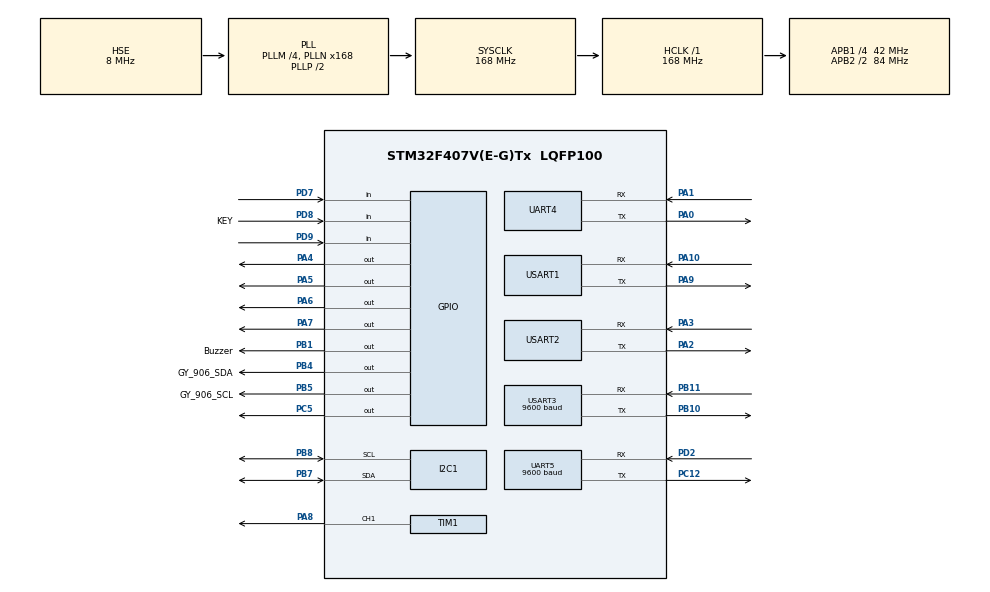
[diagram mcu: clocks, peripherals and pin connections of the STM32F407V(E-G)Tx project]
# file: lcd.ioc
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Dma.Request0=UART5_TX
Dma.Request1=UART4_TX
Dma.Request2=TIM1_CH1
Dma.Request3=UART4_RX
Dma.TIM1_CH1.2.Direction=DMA_MEMORY_TO_PERIPH
Dma.TIM1_CH1.2.FIFOMode=DMA_FIFOMODE_DISABLE
Dma.TIM1_CH1.2.Instance=DMA2_Stream1
Dma.TIM1_CH1.2.MemDataAlignment=DMA_MDATAALIGN_WORD
Dma.TIM1_CH1.2.MemInc=DMA_MINC_ENABLE
Dma.TIM1_CH1.2.Mode=DMA_NORMAL
Dma.TIM1_CH1.2.PeriphDataAlignment=DMA_PDATAALIGN_WORD
Dma.TIM1_CH1.2.PeriphInc=DMA_PINC_DISABLE
Dma.TIM1_CH1.2.Priority=DMA_PRIORITY_VERY_HIGH
Dma.UART4_RX.3.Direction=DMA_PERIPH_TO_MEMORY
Dma.UART4_RX.3.FIFOMode=DMA_FIFOMODE_DISABLE
Dma.UART4_RX.3.Instance=DMA1_Stream2
Dma.UART4_RX.3.MemDataAlignment=DMA_MDATAALIGN_BYTE
Dma.UART4_RX.3.MemInc=DMA_MINC_ENABLE
Dma.UART4_RX.3.Mode=DMA_CIRCULAR
Dma.UART4_RX.3.PeriphDataAlignment=DMA_PDATAALIGN_BYTE
Dma.UART4_RX.3.PeriphInc=DMA_PINC_DISABLE
Dma.UART4_RX.3.Priority=DMA_PRIORITY_HIGH
Dma.UART4_TX.1.Direction=DMA_MEMORY_TO_PERIPH
Dma.UART4_TX.1.FIFOMode=DMA_FIFOMODE_DISABLE
Dma.UART4_TX.1.Instance=DMA1_Stream4
Dma.UART4_TX.1.MemDataAlignment=DMA_MDATAALIGN_BYTE
Dma.UART4_TX.1.MemInc=DMA_MINC_ENABLE
Dma.UART4_TX.1.Mode=DMA_NORMAL
Dma.UART4_TX.1.PeriphDataAlignment=DMA_PDATAALIGN_BYTE
Dma.UART4_TX.1.PeriphInc=DMA_PINC_DISABLE
Dma.UART4_TX.1.Priority=DMA_PRIORITY_HIGH
Dma.UART5_TX.0.Direction=DMA_MEMORY_TO_PERIPH
Dma.UART5_TX.0.FIFOMode=DMA_FIFOMODE_DISABLE
Dma.UART5_TX.0.Instance=DMA1_Stream7
Dma.UART5_TX.0.MemDataAlignment=DMA_MDATAALIGN_BYTE
Dma.UART5_TX.0.MemInc=DMA_MINC_ENABLE
Dma.UART5_TX.0.Mode=DMA_NORMAL
Dma.UART5_TX.0.PeriphDataAlignment=DMA_PDATAALIGN_BYTE
Dma.UART5_TX.0.PeriphInc=DMA_PINC_DISABLE
Dma.UART5_TX.0.Priority=DMA_PRIORITY_LOW
I2C1.I2C_Mode=I2C_Fast
Mcu.Family=STM32F4
Mcu.Name=STM32F407V(E-G)Tx
Mcu.Package=LQFP100
NVIC.DMA1_Stream2_IRQn=true\:0\:0\:false\:false\:true\:false\:true\:true
NVIC.DMA1_Stream4_IRQn=true\:0\:0\:false\:false\:true\:false\:true\:true
NVIC.DMA1_Stream7_IRQn=true\:0\:0\:false\:false\:true\:false\:true\:true
NVIC.DMA2_Stream1_IRQn=true\:0\:0\:false\:false\:true\:false\:true\:true
NVIC.PriorityGroup=NVIC_PRIORITYGROUP_4
NVIC.UART4_IRQn=true\:0\:0\:false\:false\:true\:true\:true\:true
NVIC.UART5_IRQn=true\:0\:0\:false\:false\:true\:true\:true\:true
NVIC.USART2_IRQn=true\:0\:0\:false\:false\:true\:true\:true\:true
NVIC.USART3_IRQn=true\:0\:0\:false\:false\:true\:true\:true\:true
PA0-WKUP.Mode=Asynchronous
PA0-WKUP.Signal=UART4_TX
PA1.Mode=Asynchronous
PA1.Signal=UART4_RX
PA10.Mode=Asynchronous
PA10.Signal=USART1_RX
PA13.Mode=Serial_Wire
PA13.Signal=SYS_JTMS-SWDIO
PA14.Mode=Serial_Wire
PA14.Signal=SYS_JTCK-SWCLK
PA2.Mode=Asynchronous
PA2.Signal=USART2_TX
PA3.Mode=Asynchronous
PA3.Signal=USART2_RX
PA4.Signal=GPIO_Output
PA5.Signal=GPIO_Output
PA6.Signal=GPIO_Output
PA7.Signal=GPIO_Output
PA8.Signal=S_TIM1_CH1
PA9.Mode=Asynchronous
PA9.Signal=USART1_TX
PB1.GPIO_Label=Buzzer
PB1.GPIO_ModeDefaultOutputPP=GPIO_MODE_OUTPUT_PP
PB1.GPIO_PuPd=GPIO_NOPULL
PB1.PinState=GPIO_PIN_SET
PB1.Signal=GPIO_Output
PB10.Mode=Asynchronous
PB10.Signal=USART3_TX
PB11.Mode=Asynchronous
PB11.Signal=USART3_RX
PB4.GPIO_Label=GY_906_SDA
PB4.GPIO_ModeDefaultOutputPP=GPIO_MODE_OUTPUT_OD
PB4.GPIO_PuPd=GPIO_PULLUP
PB4.GPIO_Speed=GPIO_SPEED_FREQ_HIGH
PB4.PinState=GPIO_PIN_SET
PB4.Signal=GPIO_Output
PB5.GPIO_Label=GY_906_SCL
PB5.GPIO_ModeDefaultOutputPP=GPIO_MODE_OUTPUT_OD
PB5.GPIO_PuPd=GPIO_PULLUP
PB5.GPIO_Speed=GPIO_SPEED_FREQ_HIGH
PB5.PinState=GPIO_PIN_SET
PB5.Signal=GPIO_Output
PB7.Mode=I2C
PB7.Signal=I2C1_SDA
PB8.Mode=I2C
PB8.Signal=I2C1_SCL
PC12.Mode=Asynchronous
PC12.Signal=UART5_TX
PC5.Signal=GPIO_Output
PD2.Mode=Asynchronous
PD2.Signal=UART5_RX
PD7.GPIO_PuPd=GPIO_PULLUP
PD7.Signal=GPIO_Input
PD8.GPIO_Label=KEY
PD8.GPIO_PuPd=GPIO_PULLUP
PD8.Signal=GPIO_Input
PD9.GPIO_PuPd=GPIO_PULLUP
PD9.Signal=GPIO_Input
PH0-OSC_IN.Mode=HSE-External-Oscillator
PH0-OSC_IN.Signal=RCC_OSC_IN
PH1-OSC_OUT.Mode=HSE-External-Oscillator
PH1-OSC_OUT.Signal=RCC_OSC_OUT
ProjectManager.HeapSize=0x200
ProjectManager.StackSize=0x400
ProjectManager.TargetToolchain=MDK-ARM V5.32
RCC.48MHZClocksFreq_Value=84000000
RCC.AHBFreq_Value=168000000
RCC.APB1CLKDivider=RCC_HCLK_DIV4
RCC.APB1Freq_Value=42000000
RCC.APB1TimFreq_Value=84000000
RCC.APB2CLKDivider=RCC_HCLK_DIV2
RCC.APB2Freq_Value=84000000
RCC.APB2TimFreq_Value=168000000
RCC.CortexFreq_Value=168000000
RCC.HCLKFreq_Value=168000000
RCC.HSE_VALUE=8000000
RCC.HSI_VALUE=16000000
RCC.LSE_VALUE=32768
RCC.PLLM=4
RCC.PLLN=168
RCC.PLLSourceVirtual=RCC_PLLSOURCE_HSE
RCC.SYSCLKFreq_VALUE=168000000
RCC.SYSCLKSource=RCC_SYSCLKSOURCE_PLLCLK
RCC.VCOOutputFreq_Value=336000000
SH.S_TIM1_CH1.0=TIM1_CH1,PWM Generation1 CH1
TIM1.Channel-PWM\ Generation1\ CH1=TIM_CHANNEL_1
TIM1.Period=209
UART4.VirtualMode=Asynchronous
UART5.BaudRate=9600
UART5.VirtualMode=Asynchronous
USART1.VirtualMode=VM_ASYNC
USART2.VirtualMode=VM_ASYNC
USART3.BaudRate=9600
USART3.VirtualMode=VM_ASYNC
VP_TIM1_VS_ClockSourceINT.Mode=Internal
board=custom

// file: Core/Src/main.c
/* USER CODE BEGIN Header */
/**
  ******************************************************************************
  * @file           : main.c
  * @brief          : Main program body
  ******************************************************************************
  * @attention
  *
  * Copyright (c) 2026 STMicroelectronics.
  * All rights reserved.
  *
  * This software is licensed under terms that can be found in the LICENSE file
  * in the root directory of this software component.
  * If no LICENSE file comes with this software, it is provided AS-IS.
  *
  ******************************************************************************
  */
/* USER CODE END Header */
#include "main.h"
#include "dma.h"
#include "i2c.h"
#include "tim.h"
#include "usart.h"
#include "gpio.h"

/* USER CODE BEGIN Includes */
#include "Com_debug.h"
#include "Delay.h"
#include "jy901s.h"
#include "GPS.h"
#include "LORA.h"
#include "Buzzer.h"
#include "Int_led.h"
#include "GY906.h"
#include "lcd.h"
#include "lcd_init.h"
#include "fall.h"
#include "mylcd.h"
#include "Ask.h"
#include "max30102.h"
#include "spo2_algorithm.h"
#include "Key.h"
#include "uart_receiver.h"
/* USER CODE END Includes */

/* USER CODE BEGIN PTD */

/* 全局变量定义 --------------------------------------------------------------*/

extern I2C_HandleTypeDef hi2c1;
uint32_t raw_red = 0;
uint32_t raw_ir  = 0;

float my_heart_rate = 0.0f;
float my_spo2       = 0.0f;

uint32_t last_calc_time = 0;

uint16_t sy_Fall=0;

uint8_t g_usart2_receivedata=0;
uint8_t rx_tmp;
char rxdatabufer;
uint16_t point1 = 0;

#define GPS_REC_LEN 128
char gps_rx_byte;
char gps_line_buffer[GPS_REC_LEN];
uint8_t gps_buf_idx = 0;
uint8_t gps_line_ready = 0;
GT_U8_GPS_t my_gps_data;
extern  GT_U8_GPS_t my_gps_data;

SensorData_t current_sensor_data;

Button_t myBtn;
Button_t myBtn2;        // <-- 新增：PD7 按键结构体
uint8_t Test_Key;
void HAL_UART_RxCpltCallback(UART_HandleTypeDef *huart)
{
	    if(huart==&huart2 )
       {
       jy61p_ReceiveData (g_usart2_receivedata);
	     HAL_UART_Receive_IT(&huart2, &g_usart2_receivedata, 1);
       }

			  if(huart->Instance == USART3)
    {
          if (gps_rx_byte == '\n') {
            gps_line_buffer[gps_buf_idx] = '\0';
            gps_line_ready = 1;
            gps_buf_idx = 0;
        } else if (gps_rx_byte != '\r') {
            if (gps_buf_idx < GPS_REC_LEN - 1) {
                gps_line_buffer[gps_buf_idx++] = gps_rx_byte;
            } else {
                gps_buf_idx = 0;
            }
        }

        HAL_UART_Receive_IT(&huart3, (uint8_t *)&gps_rx_byte, 1);
    }
}

void My_Action(void)
{
  sy_Fall=1;
}
extern uint8_t fall_screen_init_flag;
extern uint8_t lock_med_a, lock_med_b, lock_med_c, lock_med_d, lock_med_e;
void My_Action2(void)
{
    printf("Button 2 Pressed! System Resetting...\r\n");

    // 1. 复位核心状态标志
    sy_Fall = 0;
    g_slave_data.sos_flag = 0;
    g_slave_data.medicine_id = 0;
    g_slave_data.new_phone_flag = 0;

//    // 2. 【核心修复】复位 LCD 屏幕首次加载锁
    fall_screen_init_flag = 0;
    lock_med_a = 0;
    lock_med_b = 0;
    lock_med_c = 0;
    lock_med_d = 0;
    lock_med_e = 0;

    // 3. 关闭紧急硬件报警
    WS2812_Send(0, 0, 0);  // 关闭彩色LED
    Buzzer_Stop();         // 关闭蜂鸣器

    // 4. 恢复屏幕为正常显示状态
    normal();

    // 清除屏幕上残留的电话号码
    LCD_Fill(69, 100, 61 + 64, 100 + 16, WHITE);
}
/* USER CODE END PTD */

/* USER CODE BEGIN PD */
#define POWER_SAVE_STILL_TIME_MS       (60UL * 1000UL)
#define POWER_SAVE_PPG_INVALID_MS      (30UL * 1000UL)
#define POWER_SAVE_STILL_DELTA_G       0.15f
#define POWER_SAVE_WAKE_DELTA_G        0.25f
#define POWER_SAVE_LOOP_DELAY_MS       200U

/* USER CODE END PD */

/* USER CODE BEGIN PV */
static uint8_t power_save_mode = 0;
static uint8_t power_save_acc_ready = 0;
static uint32_t power_save_still_start_tick = 0;
static uint32_t last_ppg_valid_tick = 0;
static float power_save_ref_acc_x = 0.0f;
static float power_save_ref_acc_y = 0.0f;
static float power_save_ref_acc_z = 0.0f;
static float power_save_sleep_acc_x = 0.0f;
static float power_save_sleep_acc_y = 0.0f;
static float power_save_sleep_acc_z = 0.0f;
static GPIO_PinState power_save_key8_idle = GPIO_PIN_SET;
static GPIO_PinState power_save_key9_idle = GPIO_PIN_SET;

/* USER CODE END PV */

void SystemClock_Config(void);
/* USER CODE BEGIN PFP */
static void Power_Save_Update(uint32_t now_tick);
static void Power_Save_Enter(void);
static void Power_Save_Exit(void);
static void Power_Save_IdleWait(uint32_t wait_ms);
static uint8_t Power_Save_IsBlocked(void);
static uint8_t Power_Save_KeyActive(void);
static uint8_t Power_Save_AlarmKeyActive(void);
static float Power_Save_Abs(float value);
static float Power_Save_AccelDelta(float ref_x, float ref_y, float ref_z);

/* USER CODE END PFP */

/* USER CODE BEGIN 0 */
static float Power_Save_Abs(float value)
{
    return (value < 0.0f) ? -value : value;
}

static float Power_Save_AccelDelta(float ref_x, float ref_y, float ref_z)
{
    return Power_Save_Abs(AccX - ref_x) + Power_Save_Abs(AccY - ref_y) + Power_Save_Abs(AccZ - ref_z);
}

static uint8_t Power_Save_IsBlocked(void)
{
    return (sy_Fall != 0 ||
            g_slave_data.sos_flag != 0 ||
            g_slave_data.medicine_id != 0 ||
            g_slave_data.new_phone_flag != 0);
}

static uint8_t Power_Save_KeyActive(void)
{
    return (HAL_GPIO_ReadPin(GPIOD, GPIO_PIN_8) != power_save_key8_idle ||
            HAL_GPIO_ReadPin(GPIOD, GPIO_PIN_9) != power_save_key9_idle);
}

static uint8_t Power_Save_AlarmKeyActive(void)
{
    return (HAL_GPIO_ReadPin(GPIOD, GPIO_PIN_8) != power_save_key8_idle);
}

static void Power_Save_Enter(void)
{
    if (power_save_mode != 0) {
        return;
    }

    power_save_mode = 1;
    power_save_sleep_acc_x = AccX;
    power_save_sleep_acc_y = AccY;
    power_save_sleep_acc_z = AccZ;

    Buzzer_Stop();
    WS2812_Send(0, 0, 0);
    MAX30102_Shutdown(&hi2c1);
    HAL_UART_AbortReceive(&huart3);
    HAL_UART_DeInit(&huart3);
    gps_buf_idx = 0;
    gps_line_ready = 0;
    LCD_Sleep();
}

static void Power_Save_Exit(void)
{
    if (power_save_mode == 0) {
        return;
    }

    power_save_mode = 0;
    MX_USART3_UART_Init();
    HAL_UART_Receive_IT(&huart3, (uint8_t *)&gps_rx_byte, 1);
    MAX30102_Init(&hi2c1);
    LCD_Wake();
    normal();
    last_calc_time = HAL_GetTick();
}

static void Power_Save_Update(uint32_t now_tick)
{
    uint8_t blocked = Power_Save_IsBlocked();

    if (power_save_acc_ready == 0) {
        power_save_acc_ready = 1;
        power_save_ref_acc_x = AccX;
        power_save_ref_acc_y = AccY;
        power_save_ref_acc_z = AccZ;
        power_save_still_start_tick = now_tick;
        return;
    }

    if (power_save_mode != 0) {
        if (blocked != 0 || Power_Save_KeyActive() != 0 || Power_Save_AccelDelta(power_save_sleep_acc_x, power_save_sleep_acc_y, power_save_sleep_acc_z) > POWER_SAVE_WAKE_DELTA_G) {
            if (Power_Save_AlarmKeyActive() != 0) {
                My_Action();
            }
            Power_Save_Exit();
            power_save_ref_acc_x = AccX;
            power_save_ref_acc_y = AccY;
            power_save_ref_acc_z = AccZ;
            power_save_still_start_tick = now_tick;
        }
        return;
    }

    if (blocked != 0 || Power_Save_AccelDelta(power_save_ref_acc_x, power_save_ref_acc_y, power_save_ref_acc_z) > POWER_SAVE_STILL_DELTA_G) {
        power_save_ref_acc_x = AccX;
        power_save_ref_acc_y = AccY;
        power_save_ref_acc_z = AccZ;
        power_save_still_start_tick = now_tick;
        return;
    }

    if ((now_tick - power_save_still_start_tick) >= POWER_SAVE_STILL_TIME_MS &&
        (now_tick - last_ppg_valid_tick) >= POWER_SAVE_PPG_INVALID_MS) {
        Power_Save_Enter();
    }
}

static void Power_Save_IdleWait(uint32_t wait_ms)
{
    uint32_t start_tick = HAL_GetTick();

    while (power_save_mode != 0 && (HAL_GetTick() - start_tick) < wait_ms) {
        HAL_PWR_EnterSLEEPMode(PWR_MAINREGULATOR_ON, PWR_SLEEPENTRY_WFI);
        Power_Save_Update(HAL_GetTick());
    }
}

/* USER CODE END 0 */

int main(void)
{

  /* MCU Configuration--------------------------------------------------------*/

  /* Reset of all peripherals, Initializes the Flash interface and the Systick. */
  HAL_Init();

  /* Configure the system clock */
  SystemClock_Config();

  /* Initialize all configured peripherals */
  MX_GPIO_Init();
  MX_DMA_Init();
  MX_USART1_UART_Init();
  MX_USART2_UART_Init();
  MX_USART3_UART_Init();
  MX_UART4_Init();
  MX_I2C1_Init();
  MX_UART5_Init();
  MX_TIM1_Init();
  /* USER CODE BEGIN 2 */

//1.Log output & print
// debug_printf("hello world");

  /* USER CODE END 2 */

  /* Infinite loop */
  /* USER CODE BEGIN WHILE */
	 Delay_Init();
   HAL_UART_Receive_IT(&huart2, &g_usart2_receivedata, 1);
   HAL_UART_Receive_IT(&huart3, (uint8_t *)&gps_rx_byte, 1);
	 UART_Receiver_Init(&huart4);
	 WS2812_Init();
	 MAX30102_Init(&hi2c1);
	 Button_Init(&myBtn, GPIOD, GPIO_PIN_8);
	 Button_Init(&myBtn2, GPIOD, GPIO_PIN_9);
	 power_save_key8_idle = HAL_GPIO_ReadPin(GPIOD, GPIO_PIN_8);
	 power_save_key9_idle = HAL_GPIO_ReadPin(GPIOD, GPIO_PIN_9);
	 LCD_Init();
   normal();
   last_ppg_valid_tick = HAL_GetTick();
  while (1)
  {
Power_Save_Update(HAL_GetTick());
if (power_save_mode != 0)
{
    Button_Process(&myBtn, My_Action);
    Button_Process(&myBtn2, My_Action2);
    Power_Save_IdleWait(POWER_SAVE_LOOP_DELAY_MS);
    continue;
}

if (g_slave_data.sos_flag == 1)
    {
       sy_Fall=1;
        //printf("[Main Loop] 开始处理 SOS 对应的紧急硬件动作...\r\n");
        g_slave_data.sos_flag = 0; // 处理完记得清零
    }

    // 检测是否有药物分发指令
    if (g_slave_data.medicine_id != 0 && sy_Fall == 0)
   {
    uint8_t current_med = g_slave_data.medicine_id;

    switch (current_med)
     {
        case 0x01:
        case '1':
        case 'A':
        case 'a':
        case 0x0A: med_a();    UART_Protocol_SendCmd(0x01); HAL_Delay(100); UART_Protocol_SendMode(0x03);break;
        case 0x02:
        case '2':
        case 'B':
        case 'b':
        case 0x0B: med_b();    UART_Protocol_SendCmd(0x02); HAL_Delay(100);UART_Protocol_SendMode(0x04);break;
        case 0x03:
        case '3':
        case 'C':
        case 'c':
        case 0x0C: med_c();    UART_Protocol_SendCmd(0x03); HAL_Delay(100);UART_Protocol_SendMode(0x05);break;
        case 0x04:
        case '4':
        case 'D':
        case 'd':
        case 0x0D: med_d();    UART_Protocol_SendCmd(0x04); HAL_Delay(100);UART_Protocol_SendMode(0x06);break;
        case 0x05:
        case '5':
        case 'E':
        case 'e':
        case 0x0E: med_e();    UART_Protocol_SendCmd(0x05); HAL_Delay(100);UART_Protocol_SendMode(0x07);break;
        default:
            //printf("[Main Action] 警告：收到了未知的药丸编码: 0x%02X\r\n", current_med);
            break;
     }
     g_slave_data.medicine_id = 0; // 处理完记得清零
    }

    // 检测是否收到了新电话
    if (g_slave_data.new_phone_flag == 1)
    {
        //printf("[Main Loop] 准备调用拨号模块呼叫号码: %s...\r\n", g_slave_data.phone_num);
       LCD_Fill(69, 100, 61 + 64, 100 + 16, WHITE);
    LCD_ShowString(69, 100, (const uint8_t*)g_slave_data.phone_num, RED, WHITE, 16, 0);
        g_slave_data.new_phone_flag = 0;
    }

//3.JY901S
//      debug_printf("Roll:\n%f", Roll);
//		  debug_printf("Pitch:\n%f", Pitch);
//		  debug_printf("Yaw:\n%f", Yaw);
//			debug_printf("AccX:\n%f", AccX);
//		  debug_printf("AccY:\n%f", AccY);
//		  debug_printf("AccZ:\n%f", AccZ);

//4.GPS
	if (gps_line_ready)
		{
            // ��ʼ����
            GT_U8_Parse(gps_line_buffer, &my_gps_data);
            LCD_Fill(0, 0, 120, 16, WHITE);
            // ��ӡ�������
            if (my_gps_data.is_valid) {
                // 1. ת������ʱ�� (UTC + 8)
                int bj_hour = my_gps_data.hour + 8;
                int bj_day = my_gps_data.day;
                if (bj_hour >= 24) {
                    bj_hour -= 24;
                    bj_day += 1; // ����+1�죬δ������£��������Թ۲�
                }
                // ��ӡ������ʱ�� (��ʽ��2026-05-24 08:30:15)
//                printf("Date/Time: 20%02d-%02d-%02d %02d:%02d:%02d (Beijing)\r\n",
//                        my_gps_data.year, my_gps_data.month, bj_day,
//                        bj_hour, my_gps_data.minute, my_gps_data.second);
//
//                printf("Latitude:  %.6f %c\r\n", my_gps_data.latitude, my_gps_data.lat_dir);
//                printf("Longitude: %.6f %c\r\n", my_gps_data.longitude, my_gps_data.lon_dir);
//                printf("-----------------------\r\n");
								LCD_ShowGPS_DateTime_NonTransparent(0, 0, 5, bj_day, bj_hour, my_gps_data.minute, RED, WHITE, 16);
            } else {
                // �����λ��Ч����ʾ��������
//                printf("[GPS] Searching for satellites... (Invalid Data)\r\n");
							LCD_ShowString(0,0,"GPS Finding...",RED,BLUE,16,1);//��ʾ�ַ���
            }
            gps_line_ready = 0;
        }

//5.Buzzer
//		Buzzer_Start();
//		Buzzer_Stop();

//6.LED
//    Int_led_rainbow(20);
//		Int_led_blink(LED_RED, 1000);

//7.GY906
static float current_temp = 0.0f;
current_temp = SMBus_ReadTemp();
if (sy_Fall == 0)
{
    LCD_ShowFloatNum1(33, 70, current_temp, 4, BLACK, WHITE, 16);
}
UART_Protocol_SendTemp(current_temp);

//8.fall
        current_sensor_data.acc_x = AccX;
        current_sensor_data.acc_y = AccY;
        current_sensor_data.acc_z = AccZ;
        current_sensor_data.roll  = Roll;
        current_sensor_data.pitch = Pitch;
        current_sensor_data.yaw   = Yaw;
        FallState_t status = Fall_Detect_Update(current_sensor_data);
        switch (status)
					{
            case STATE_FREEFALL:
               //debug_printf("kaishishizhong"); // 可以在这里点亮一个黄色 LED，提示检测到失重
                break;

            case STATE_IMPACT:
                // 检测到剧烈撞击
                //printf("Impact detected! Checking posture...\r\n");
                break;

            case STATE_FALLEN:
						    sy_Fall=1;
           break;
            default:
                break;
        }

//9.MAX30102
// 1. 尽可能快地去读取 FIFO 数据 (让芯片内部的100Hz采样数据及时吐出来)
        if (MAX30102_Read_FIFO(&hi2c1, &raw_red, &raw_ir)) {

            // 将原始数据塞入算法缓冲区
            PPG_Data_Push(raw_red, raw_ir);
        }

        // 2. 没必要每一毫秒都去算一次心率，每隔 1 秒钟计算并打印一次结果即可
        if (HAL_GetTick() - last_calc_time >= 1000) {
            last_calc_time = HAL_GetTick();

            if (PPG_Calculate(&my_heart_rate, &my_spo2)) {
                if (my_heart_rate > 0 && my_spo2 > 0) {
                    last_ppg_valid_tick = HAL_GetTick();
                    printf(">> heart: %.1f BPM |spo2: %.1f %%\r\n", my_heart_rate, my_spo2);
        if (sy_Fall == 0)
        {
            LCD_ShowIntNum(138, 20, my_spo2, 2, RED, WHITE, 16);
            LCD_ShowIntNum(138, 36, my_heart_rate-10, 2, RED, WHITE, 16);
        }

                } else {
                    printf(">> finger...\r\n");
                }
            } else {
                printf(">> collegt...\r\n");
            }
        }

//10.LORA
UART4_SendData_DMA(
    my_gps_data.latitude,
    my_gps_data.lat_dir,
    my_gps_data.longitude,
    my_gps_data.lon_dir,
    current_temp,             // 建议采用上文优化过的当前温度变量
    sy_Fall,
    (my_heart_rate - 50),
    my_spo2
);

//11.KEY
Button_Process(&myBtn, My_Action);
Button_Process(&myBtn2, My_Action2); // <-- 新增：轮询处理 PD7 按键状态
//debug_printf("Test_Key:%d", Test_Key);

//12.Fall
//debug_printf("Test_Key:%d",sy_Fall );
              if(sy_Fall==1)
							{

								WS2812_Blink_Process();
    				    Buzzer_Start();
						     Fall();
                //printf("FALL DETECTED! ALARM ACTIVE!\r\n");
							}
							if(sy_Fall==0)
							{

								WS2812_Send(0, 0, 0);
    				    Buzzer_Stop();
                //printf("FALL DETECTED! ALARM ACTIVE!\r\n");
							}

    /* USER CODE END WHILE */
    HAL_Delay(100);
  }
}

void SystemClock_Config(void)
{
  RCC_OscInitTypeDef RCC_OscInitStruct = {0};
  RCC_ClkInitTypeDef RCC_ClkInitStruct = {0};

  /** Configure the main internal regulator output voltage
  */
  __HAL_RCC_PWR_CLK_ENABLE();
  __HAL_PWR_VOLTAGESCALING_CONFIG(PWR_REGULATOR_VOLTAGE_SCALE1);

  /** Initializes the RCC Oscillators according to the specified parameters
  * in the RCC_OscInitTypeDef structure.
  */
  RCC_OscInitStruct.OscillatorType = RCC_OSCILLATORTYPE_HSE;
  RCC_OscInitStruct.HSEState = RCC_HSE_ON;
  RCC_OscInitStruct.PLL.PLLState = RCC_PLL_ON;
  RCC_OscInitStruct.PLL.PLLSource = RCC_PLLSOURCE_HSE;
  RCC_OscInitStruct.PLL.PLLM = 4;
  RCC_OscInitStruct.PLL.PLLN = 168;
  RCC_OscInitStruct.PLL.PLLP = RCC_PLLP_DIV2;
  RCC_OscInitStruct.PLL.PLLQ = 4;
  if (HAL_RCC_OscConfig(&RCC_OscInitStruct) != HAL_OK)
  {
    Error_Handler();
  }

  /** Initializes the CPU, AHB and APB buses clocks
  */
  RCC_ClkInitStruct.ClockType = RCC_CLOCKTYPE_HCLK|RCC_CLOCKTYPE_SYSCLK
                              |RCC_CLOCKTYPE_PCLK1|RCC_CLOCKTYPE_PCLK2;
  RCC_ClkInitStruct.SYSCLKSource = RCC_SYSCLKSOURCE_PLLCLK;
  RCC_ClkInitStruct.AHBCLKDivider = RCC_SYSCLK_DIV1;
  RCC_ClkInitStruct.APB1CLKDivider = RCC_HCLK_DIV4;
  RCC_ClkInitStruct.APB2CLKDivider = RCC_HCLK_DIV2;

  if (HAL_RCC_ClockConfig(&RCC_ClkInitStruct, FLASH_LATENCY_5) != HAL_OK)
  {
    Error_Handler();
  }
}

void Error_Handler(void)
{
  __disable_irq();
  while (1)
  {
  }
}
